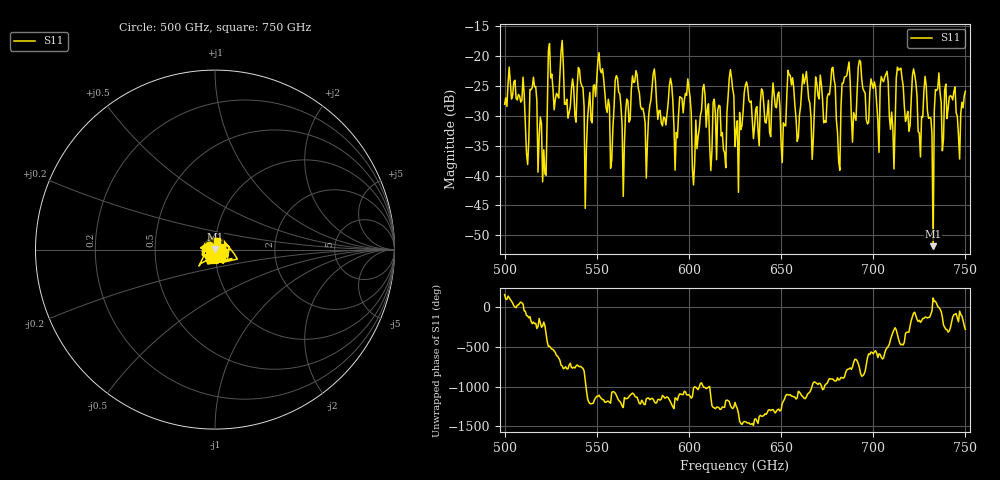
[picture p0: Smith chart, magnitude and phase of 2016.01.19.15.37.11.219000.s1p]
!Created with skrf (http://scikit-rf.org).
# GHz S RI R 50.0
!freq ReS11 ImS11
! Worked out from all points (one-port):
!   401 points, 500 GHz to 750 GHz, reference 50 ohm
!   lowest |S11| = -51.8 dB at 732.5 GHz (marker M1), VSWR 1.01, Z = 49.9 + j0.243 ohm
!   |S11| at or under -10 dB: start of sweep to end of sweep
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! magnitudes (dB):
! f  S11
! 500 GHz  -28.1
! 511.9 GHz  -36.2
! 515.6 GHz  -23.5
! 521.2 GHz  -35.7
! 524.4 GHz  -17.9
! 531.2 GHz  -17.4
! 533.8 GHz  -27.2
! 541.2 GHz  -24.4
! 544.4 GHz  -35.5
! 551.9 GHz  -22.3
! 557.5 GHz  -38.8
! 562.5 GHz  -26.3
! 593.8 GHz  -33.7
! 625 GHz  -35.1
! 651.2 GHz  -31.2
! 656.2 GHz  -23.6
! 666.9 GHz  -37.3
! 678.1 GHz  -21.9
! 681.2 GHz  -37.6
! 687.5 GHz  -24.3
! 706.9 GHz  -23.0
! 710.6 GHz  -31.9
! 714.4 GHz  -22.2
! 718.8 GHz  -29.3
! 722.5 GHz  -23.1
! 732.5 GHz  -51.8
! 735 GHz  -25.4
! 750 GHz  -25.9
